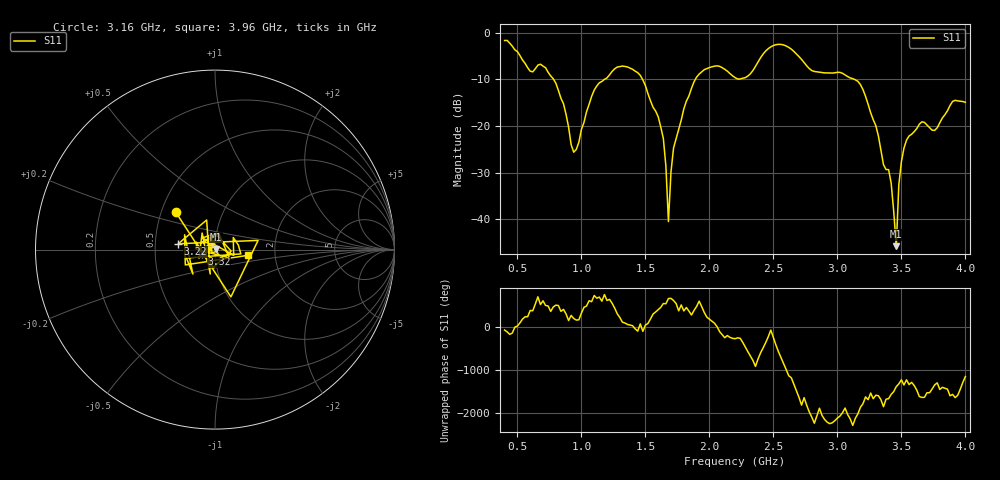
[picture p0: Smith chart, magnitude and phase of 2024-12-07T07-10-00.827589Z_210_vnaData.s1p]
!Created with skrf (http://scikit-rf.org).
# Hz S RI R 50.0
!freq ReS11 ImS11
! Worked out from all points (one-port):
!   181 points, 400 MHz to 4 GHz, reference 50 ohm
!   lowest |S11| = -45.7 dB at 3.46 GHz (marker M1), VSWR 1.01, Z = 50.3 + j0.392 ohm
!   |S11| at or under -10 dB: 782.8 MHz to 1.18 GHz (397.2 MHz wide, 40.5 % of centre); 1.478 GHz to 1.89 GHz (412.8 MHz wide, 24.5 % of centre); 3.133 GHz to end of sweep
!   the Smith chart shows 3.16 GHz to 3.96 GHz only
!   S11 on the Smith chart (normalised r, x): 3.16 GHz: 0.60, +0.27; 3.22 GHz: 0.66, +0.04; 3.32 GHz: 0.86, -0.04; 3.96 GHz: 1.44, -0.10
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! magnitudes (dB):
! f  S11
! 400 MHz  -1.7
! 720 MHz  -7.5
! 860 MHz  -15.2
! 940 MHz  -25.6
! 1.1 GHz  -12.3
! 1.3 GHz  -7.3
! 1.46 GHz  -9.1
! 1.6 GHz  -18.0
! 1.64 GHz  -22.6
! 1.66 GHz  -28.6
! 1.68 GHz  -40.5
! 1.72 GHz  -24.7
! 1.76 GHz  -20.7
! 1.92 GHz  -8.9
! 2.2 GHz  -9.6
! 2.5 GHz  -2.8
! 2.66 GHz  -4.0
! 3.1 GHz  -9.7
! 3.16 GHz  -10.4
! 3.22 GHz  -13.7
! 3.32 GHz  -22.1
! 3.42 GHz  -32.2
! 3.46 GHz  -45.7
! 3.48 GHz  -32.6
! 3.5 GHz  -27.7
! 3.56 GHz  -22.1
! 3.96 GHz  -14.7
! 4 GHz  -14.9
